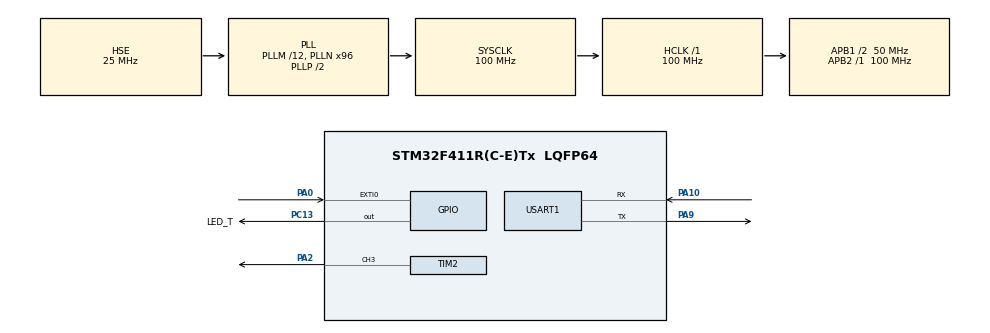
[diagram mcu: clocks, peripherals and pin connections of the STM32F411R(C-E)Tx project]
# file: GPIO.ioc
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Dma.Request0=USART1_RX
Dma.USART1_RX.0.Direction=DMA_PERIPH_TO_MEMORY
Dma.USART1_RX.0.FIFOMode=DMA_FIFOMODE_DISABLE
Dma.USART1_RX.0.Instance=DMA2_Stream2
Dma.USART1_RX.0.MemDataAlignment=DMA_MDATAALIGN_BYTE
Dma.USART1_RX.0.MemInc=DMA_MINC_ENABLE
Dma.USART1_RX.0.Mode=DMA_NORMAL
Dma.USART1_RX.0.PeriphDataAlignment=DMA_PDATAALIGN_BYTE
Dma.USART1_RX.0.PeriphInc=DMA_PINC_DISABLE
Dma.USART1_RX.0.Priority=DMA_PRIORITY_LOW
Mcu.Family=STM32F4
Mcu.Name=STM32F411R(C-E)Tx
Mcu.Package=LQFP64
NVIC.DMA2_Stream2_IRQn=true\:0\:0\:false\:false\:true\:false\:true\:true
NVIC.PriorityGroup=NVIC_PRIORITYGROUP_4
NVIC.TIM1_TRG_COM_TIM11_IRQn=true\:0\:0\:false\:false\:true\:true\:true\:true
NVIC.TIM2_IRQn=true\:0\:0\:false\:false\:true\:true\:true\:true
NVIC.USART1_IRQn=true\:0\:0\:false\:false\:true\:true\:true\:true
PA0-WKUP.GPIO_PuPd=GPIO_PULLUP
PA0-WKUP.Signal=GPXTI0
PA10.Mode=Asynchronous
PA10.Signal=USART1_RX
PA13.Mode=Serial_Wire
PA13.Signal=SYS_JTMS-SWDIO
PA14.Mode=Serial_Wire
PA14.Signal=SYS_JTCK-SWCLK
PA2.Signal=S_TIM2_CH3
PA9.Mode=Asynchronous
PA9.Signal=USART1_TX
PC13-ANTI_TAMP.GPIO_Label=LED_T
PC13-ANTI_TAMP.Signal=GPIO_Output
PC14-OSC32_IN.Mode=LSE-External-Oscillator
PC14-OSC32_IN.Signal=RCC_OSC32_IN
PC15-OSC32_OUT.Mode=LSE-External-Oscillator
PC15-OSC32_OUT.Signal=RCC_OSC32_OUT
PH0\ -\ OSC_IN.Mode=HSE-External-Oscillator
PH0\ -\ OSC_IN.Signal=RCC_OSC_IN
PH1\ -\ OSC_OUT.Mode=HSE-External-Oscillator
PH1\ -\ OSC_OUT.Signal=RCC_OSC_OUT
ProjectManager.HeapSize=0x200
ProjectManager.StackSize=0x400
ProjectManager.TargetToolchain=MDK-ARM V5.32
RCC.48MHZClocksFreq_Value=50000000
RCC.AHBFreq_Value=100000000
RCC.APB1CLKDivider=RCC_HCLK_DIV2
RCC.APB1Freq_Value=50000000
RCC.APB1TimFreq_Value=100000000
RCC.APB2Freq_Value=100000000
RCC.APB2TimFreq_Value=100000000
RCC.CortexFreq_Value=100000000
RCC.HCLKFreq_Value=100000000
RCC.HSE_VALUE=25000000
RCC.HSI_VALUE=16000000
RCC.PLLM=12
RCC.PLLN=96
RCC.PLLSourceVirtual=RCC_PLLSOURCE_HSE
RCC.SYSCLKFreq_VALUE=100000000
RCC.SYSCLKSource=RCC_SYSCLKSOURCE_PLLCLK
RCC.VCOOutputFreq_Value=200000000
SH.S_TIM2_CH3.0=TIM2_CH3,PWM Generation3 CH3
TIM11.Period=999
TIM11.Prescaler=99
TIM2.Channel-PWM\ Generation3\ CH3=TIM_CHANNEL_3
TIM2.OCMode_PWM-PWM\ Generation3\ CH3=TIM_OCMODE_PWM1
TIM2.Period=999
TIM2.Prescaler=99
TIM2.Pulse-PWM\ Generation3\ CH3=300
USART1.VirtualMode=VM_ASYNC
VP_TIM11_VS_ClockSourceINT.Mode=Enable_Timer
board=custom

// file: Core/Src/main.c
/* USER CODE BEGIN Header */
/**
  ******************************************************************************
  * @file           : main.c
  * @brief          : Main program body
  ******************************************************************************
  * @attention
  *
  * Copyright (c) 2026 STMicroelectronics.
  * All rights reserved.
  *
  * This software is licensed under terms that can be found in the LICENSE file
  * in the root directory of this software component.
  * If no LICENSE file comes with this software, it is provided AS-IS.
  *
  ******************************************************************************
  */
/* USER CODE END Header */
#include "main.h"
#include "dma.h"
#include "tim.h"
#include "usart.h"
#include "gpio.h"

/* USER CODE BEGIN Includes */
#include "stdio.h"
#include "string.h"
#include "stm32f4xx_it.h"
/* USER CODE END Includes */

/* USER CODE BEGIN PV */
//接收缓冲区
extern uint8_t RXbuf[50];
//定时器计数变量
uint16_t pwm_val = 0;
//呼吸方向
//1:递增
//-1:递减
int8_t breath_dir = 1;
/* USER CODE END PV */

void SystemClock_Config(void);

int main(void)
{

  /* MCU Configuration--------------------------------------------------------*/

  /* Reset of all peripherals, Initializes the Flash interface and the Systick. */
  HAL_Init();

  /* Configure the system clock */
  SystemClock_Config();

  /* Initialize all configured peripherals */
  MX_GPIO_Init();
  MX_DMA_Init();
  MX_USART1_UART_Init();
  MX_TIM11_Init();
  MX_TIM2_Init();
  /* USER CODE BEGIN 2 */
  //接收DMA初始化
  HAL_UART_Receive_DMA(&huart1, RXbuf, 50);
  //接收DMA中断使能
  __HAL_UART_ENABLE_IT(&huart1, UART_IT_IDLE);

  //启动TIM11定时器
  HAL_TIM_Base_Start_IT(&htim11);

	//启动PWM输出 通道3
	HAL_TIM_PWM_Start(&htim2, TIM_CHANNEL_3);

  /* USER CODE END 2 */

  /* Infinite loop */
  while (1)
  {

    /* USER CODE BEGIN 3 */
    if(timecount >= 2){               // 每2ms更新一次占空比
      //printf("pwm_val = %d\r\n", pwm_val);
      timecount = 0;

      pwm_val += breath_dir;          // 增减占空比
      if(pwm_val >= 999){             // 到达最大亮度，改为递减
        pwm_val = 999;
        breath_dir = -1;
      }
      if(pwm_val == 0){               // 到达最小亮度，改为递增
        breath_dir = 1;
      }

      __HAL_TIM_SET_COMPARE(&htim2, TIM_CHANNEL_3, pwm_val);
    }
  }
  /* USER CODE END 3 */
}

void SystemClock_Config(void)
{
  RCC_OscInitTypeDef RCC_OscInitStruct = {0};
  RCC_ClkInitTypeDef RCC_ClkInitStruct = {0};

  /** Configure the main internal regulator output voltage
  */
  __HAL_RCC_PWR_CLK_ENABLE();
  __HAL_PWR_VOLTAGESCALING_CONFIG(PWR_REGULATOR_VOLTAGE_SCALE1);

  /** Initializes the RCC Oscillators according to the specified parameters
  * in the RCC_OscInitTypeDef structure.
  */
  RCC_OscInitStruct.OscillatorType = RCC_OSCILLATORTYPE_HSE;
  RCC_OscInitStruct.HSEState = RCC_HSE_ON;
  RCC_OscInitStruct.PLL.PLLState = RCC_PLL_ON;
  RCC_OscInitStruct.PLL.PLLSource = RCC_PLLSOURCE_HSE;
  RCC_OscInitStruct.PLL.PLLM = 12;
  RCC_OscInitStruct.PLL.PLLN = 96;
  RCC_OscInitStruct.PLL.PLLP = RCC_PLLP_DIV2;
  RCC_OscInitStruct.PLL.PLLQ = 4;
  if (HAL_RCC_OscConfig(&RCC_OscInitStruct) != HAL_OK)
  {
    Error_Handler();
  }

  /** Initializes the CPU, AHB and APB buses clocks
  */
  RCC_ClkInitStruct.ClockType = RCC_CLOCKTYPE_HCLK|RCC_CLOCKTYPE_SYSCLK
                              |RCC_CLOCKTYPE_PCLK1|RCC_CLOCKTYPE_PCLK2;
  RCC_ClkInitStruct.SYSCLKSource = RCC_SYSCLKSOURCE_PLLCLK;
  RCC_ClkInitStruct.AHBCLKDivider = RCC_SYSCLK_DIV1;
  RCC_ClkInitStruct.APB1CLKDivider = RCC_HCLK_DIV2;
  RCC_ClkInitStruct.APB2CLKDivider = RCC_HCLK_DIV1;

  if (HAL_RCC_ClockConfig(&RCC_ClkInitStruct, FLASH_LATENCY_3) != HAL_OK)
  {
    Error_Handler();
  }
}

void Error_Handler(void)
{
  __disable_irq();
  while (1)
  {
  }
}
